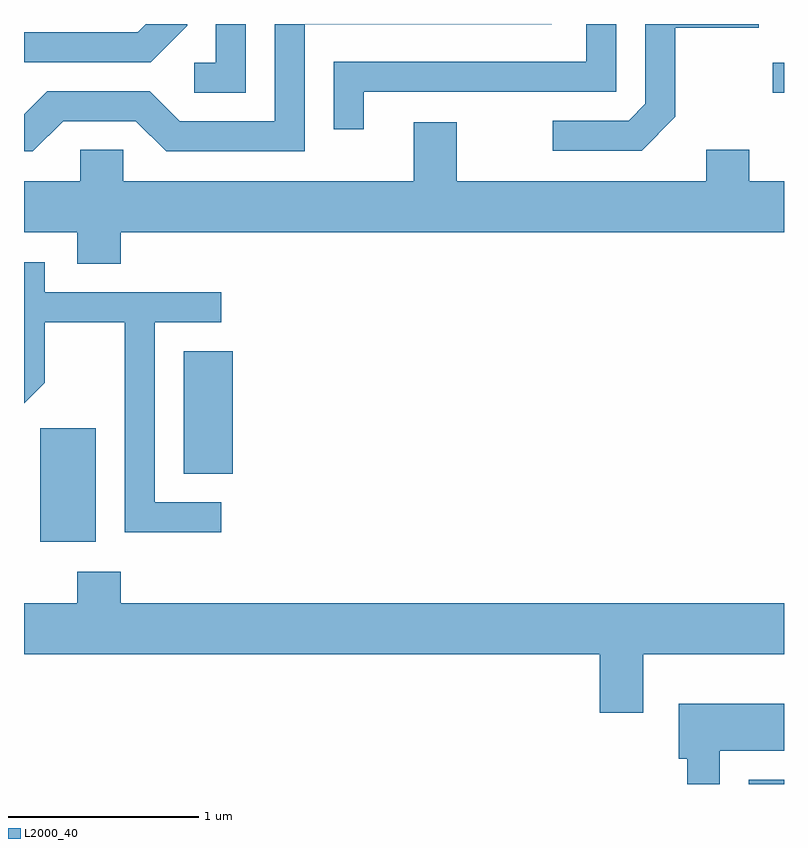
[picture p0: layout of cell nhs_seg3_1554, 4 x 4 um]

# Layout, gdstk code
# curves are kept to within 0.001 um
import gdstk
lib = gdstk.Library(unit=1e-6, precision=1e-09)
def R(c, l, rs):  # rectangles x0, y0, x1, y1
    for r in rs: c.add(gdstk.rectangle(r[:2], r[2:], *l))
def P(c, l, *ps):  # polygons
    for p in ps: c.add(gdstk.Polygon(p, *l))
L2000_40 = (2000, 40)

nhs_seg3_1554 = lib.new_cell('nhs_seg3_1554')
R(nhs_seg3_1554, L2000_40, [(233.426,1231.892,233.611,1231.914), (229.696,1233.166,229.989,1233.764), (230.451,1233.526,230.709,1234.169), (233.553,1235.531,233.611,1235.689)])
P(nhs_seg3_1554, L2000_40, [(233.039,1235.404),(233.039,1235.871),(233.479,1235.871),(233.479,1235.892),(232.881,1235.892),(232.881,1235.472),(232.794,1235.384),(232.393,1235.384),(232.393,1235.226),(232.862,1235.226)],
  [(230.779,1235.892),(230.621,1235.892),(230.621,1235.689),(230.508,1235.689),(230.508,1235.531),(230.779,1235.531)],
  [(229.817,1235.381),(230.199,1235.381),(230.359,1235.221),(231.089,1235.221),(231.089,1235.891),(232.389,1235.892),(230.931,1235.892),(230.931,1235.379),(230.432,1235.379),(230.272,1235.539),(229.734,1235.539),(229.611,1235.416),(229.611,1235.221),(229.657,1235.221)],
  [(230.469,1235.884),(230.469,1235.892),(230.252,1235.892),(230.209,1235.849),(229.611,1235.849),(229.611,1235.691),(230.277,1235.691)],
  [(231.399,1235.536),(232.729,1235.536),(232.729,1235.892),(232.571,1235.892),(232.571,1235.694),(231.241,1235.694),(231.241,1235.338),(231.399,1235.338)],
  [(230.119,1234.796),(233.611,1234.796),(233.611,1235.064),(233.429,1235.064),(233.429,1235.229),(233.201,1235.229),(233.201,1235.064),(231.889,1235.064),(231.889,1235.374),(231.661,1235.374),(231.661,1235.064),(230.134,1235.064),(230.134,1235.229),(229.906,1235.229),(229.906,1235.064),(229.611,1235.064),(229.611,1234.796),(229.891,1234.796),(229.891,1234.631),(230.119,1234.631)],
  [(230.648,1233.374),(230.299,1233.374),(230.299,1234.321),(230.648,1234.321),(230.648,1234.479),(229.719,1234.479),(229.719,1234.639),(229.611,1234.639),(229.611,1233.896),(229.719,1234.004),(229.719,1234.321),(230.141,1234.321),(230.141,1233.216),(230.648,1233.216)],
  [(232.869,1232.576),(233.611,1232.576),(233.611,1232.844),(230.119,1232.844),(230.119,1233.009),(229.891,1233.009),(229.891,1232.844),(229.611,1232.844),(229.611,1232.576),(232.641,1232.576),(232.641,1232.266),(232.869,1232.266)],
  [(233.274,1232.066),(233.611,1232.066),(233.611,1232.314),(233.056,1232.314),(233.056,1232.026),(233.101,1232.026),(233.101,1231.892),(233.274,1231.892)])

lib.write_gds('nhs_seg3_1554.gds')
